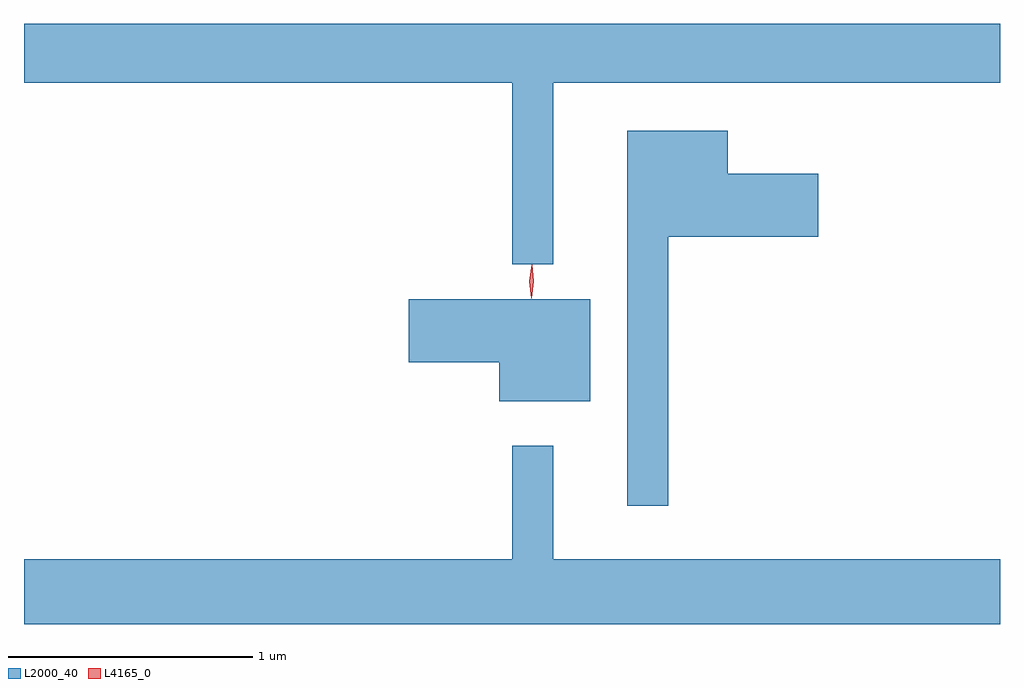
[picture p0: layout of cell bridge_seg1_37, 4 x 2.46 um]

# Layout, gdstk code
import gdstk
lib = gdstk.Library(unit=1e-6, precision=1e-09)
def P(c, l, *ps):  # polygons
    for p in ps: c.add(gdstk.Polygon(p, *l))
L2000_40 = (2000, 40)
L4165_0 = (4165, 0)

bridge_seg1_37 = lib.new_cell('bridge_seg1_37')
P(bridge_seg1_37, L2000_40, [(1650.749,844.076),(1652.579,844.076),(1652.579,844.319),(1648.579,844.319),(1648.579,844.076),(1650.581,844.076),(1650.581,843.333),(1650.749,843.333)],
  [(1651.219,843.446),(1651.834,843.446),(1651.834,843.704),(1651.464,843.704),(1651.464,843.879),(1651.051,843.879),(1651.051,842.343),(1651.219,842.343)],
  [(1650.899,843.189),(1650.156,843.189),(1650.156,842.931),(1650.526,842.931),(1650.526,842.771),(1650.899,842.771)],
  [(1652.579,842.124),(1650.749,842.124),(1650.749,842.588),(1650.581,842.588),(1650.581,842.124),(1648.579,842.124),(1648.579,841.856),(1652.579,841.856)])
P(bridge_seg1_37, L4165_0, [(1650.658,843.2),(1650.658,843.201),(1650.649,843.264),(1650.66,843.326),(1650.66,843.327),(1650.661,843.326),(1650.669,843.263),(1650.659,843.201)],
  [(1650.658,843.194),(1650.658,843.194),(1650.649,843.262),(1650.66,843.33),(1650.66,843.33),(1650.661,843.33),(1650.669,843.262),(1650.659,843.194)])

lib.write_gds('bridge_seg1_37.gds')
